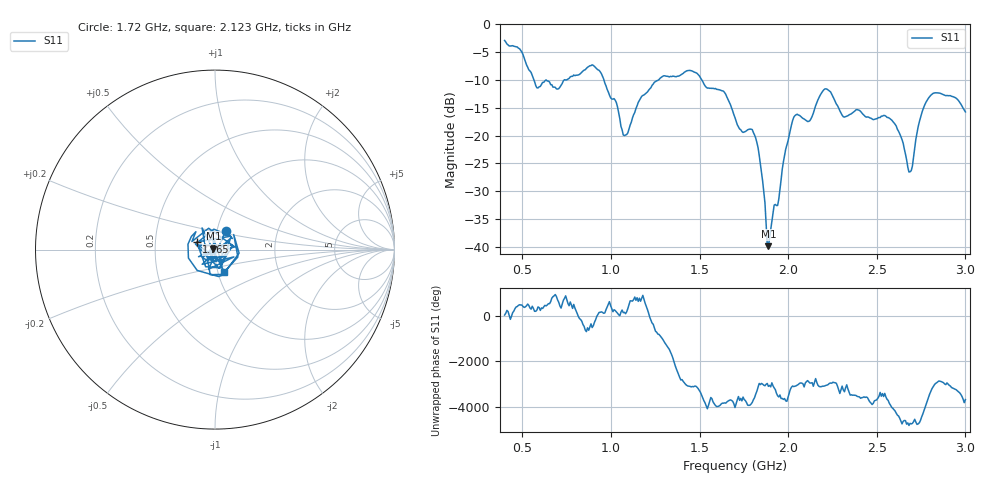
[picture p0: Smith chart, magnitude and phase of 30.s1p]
!Created with skrf (http://scikit-rf.org).
# Hz S RI R 50.0
!freq ReS11 ImS11
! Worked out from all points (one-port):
!   401 points, 400 MHz to 3 GHz, reference 50 ohm
!   lowest |S11| = -39.8 dB at 1.889 GHz (marker M1), VSWR 1.02, Z = 49.2 + j0.571 ohm
!   |S11| at or under -10 dB: 565.1 MHz to 737.5 MHz (172.4 MHz wide, 26.5 % of centre); 960.2 MHz to 1.27 GHz (309.3 MHz wide, 27.7 % of centre); 1.512 GHz to end of sweep (the widest 3 of 4)
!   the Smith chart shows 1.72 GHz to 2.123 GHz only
!   S11 on the Smith chart (normalised r, x): 1.72 GHz: 1.10, +0.23; 1.765 GHz: 0.81, +0.07; 2.123 GHz: 1.07, -0.28
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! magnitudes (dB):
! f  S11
! 400 MHz  -2.9
! 491 MHz  -4.7
! 588.5 MHz  -11.5
! 725 MHz  -10.7
! 907 MHz  -7.6
! 1.05 GHz  -17.0
! 1.083 GHz  -19.9
! 1.161 GHz  -13.7
! 1.245 GHz  -10.4
! 1.375 GHz  -9.4
! 1.46 GHz  -8.4
! 1.629 GHz  -12.0
! 1.7 GHz  -16.8
! 1.72 GHz  -18.4
! 1.765 GHz  -19.1
! 1.823 GHz  -21.3
! 1.889 GHz  -39.8
! 2.025 GHz  -17.3
! 2.123 GHz  -17.3
! 2.213 GHz  -11.6
! 2.35 GHz  -16.2
! 2.578 GHz  -17.1
! 2.636 GHz  -20.2
! 2.675 GHz  -25.7
! 2.695 GHz  -26.3
! 2.747 GHz  -16.8
! 2.805 GHz  -12.8
! 3 GHz  -15.8
